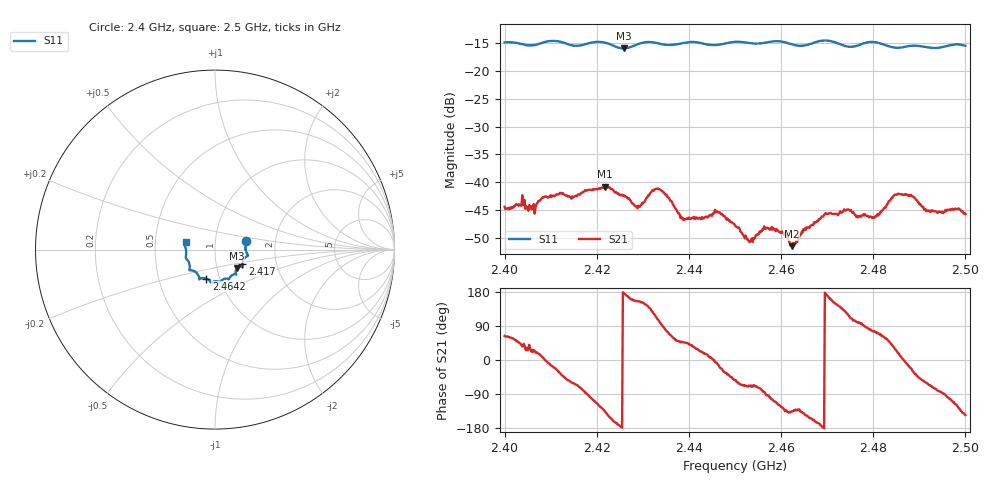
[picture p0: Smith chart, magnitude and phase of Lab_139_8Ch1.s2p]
# Hz S RI R 50
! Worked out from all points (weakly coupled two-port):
!   601 points, 2.4 GHz to 2.5 GHz, reference 50 ohm
!   highest |S21| = -40.81 dB at 2.4218 GHz (marker M1); lowest = -51.5 dB at 2.4623 GHz (marker M2)
!   lowest |S11| = -15.9 dB at 2.4258 GHz (marker M3), VSWR 1.38, Z = 62.3 - j13.3 ohm
!   |S11| at or under -10 dB: start of sweep to end of sweep
!   S12 and S22 are empty: the file has one direction only
!   S11 on the Smith chart (normalised r, x): 2.4 GHz: 1.41, +0.14; 2.417 GHz: 1.34, -0.22; 2.4642 GHz: 0.86, -0.29; 2.5 GHz: 0.72, +0.06
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2.4e9  0.1738 0.0494  0.0027 0.00538  0 0  0 0
2.416667e9  0.1534 -0.0744  0.00208 -0.00775  0 0  0 0
2.417e9  0.153 -0.0783  0.00145 -0.00805  0 0  0 0
2.421833e9  0.1525 -0.0953  -0.00659 -0.00628  0 0  0 0
2.425833e9  0.1215 -0.1038  -0.00767 0.000394  0 0  0 0
2.429e9  0.1154 -0.1312  -0.00556 0.00259  0 0  0 0
2.433333e9  0.1131 -0.1364  -0.00243 0.00844  0 0  0 0
2.438667e9  0.0815 -0.1582  0.00323 0.00351  0 0  0 0
2.446167e9  0.0462 -0.1654  0.00531 -0.000984  0 0  0 0
2.45e9  0.0293 -0.1807  0.00242 -0.0033  0 0  0 0
2.453e9  0.0174 -0.1777  0.00113 -0.00273  0 0  0 0
2.456833e9  -0.0121 -0.1802  -0.000232 -0.00388  0 0  0 0
2.4605e9  -0.0247 -0.1813  -0.00216 -0.00278  0 0  0 0
2.462333e9  -0.0315 -0.171  -0.00189 -0.00187  0 0  0 0
2.464167e9  -0.0478 -0.1616  -0.00243 -0.00235  0 0  0 0
2.466667e9  -0.076 -0.1597  -0.00373 -0.00176  0 0  0 0
2.474167e9  -0.0986 -0.1345  -0.00323 0.00466  0 0  0 0
2.480167e9  -0.1429 -0.113  0.0011 0.00465  0 0  0 0
2.483333e9  -0.1407 -0.0901  0.00434 0.00517  0 0  0 0
2.487167e9  -0.1565 -0.0555  0.0077 -0.0011  0 0  0 0
2.492e9  -0.1609 -0.0255  0.00233 -0.00504  0 0  0 0
2.5e9  -0.1636 0.0418  -0.00425 -0.00295  0 0  0 0
